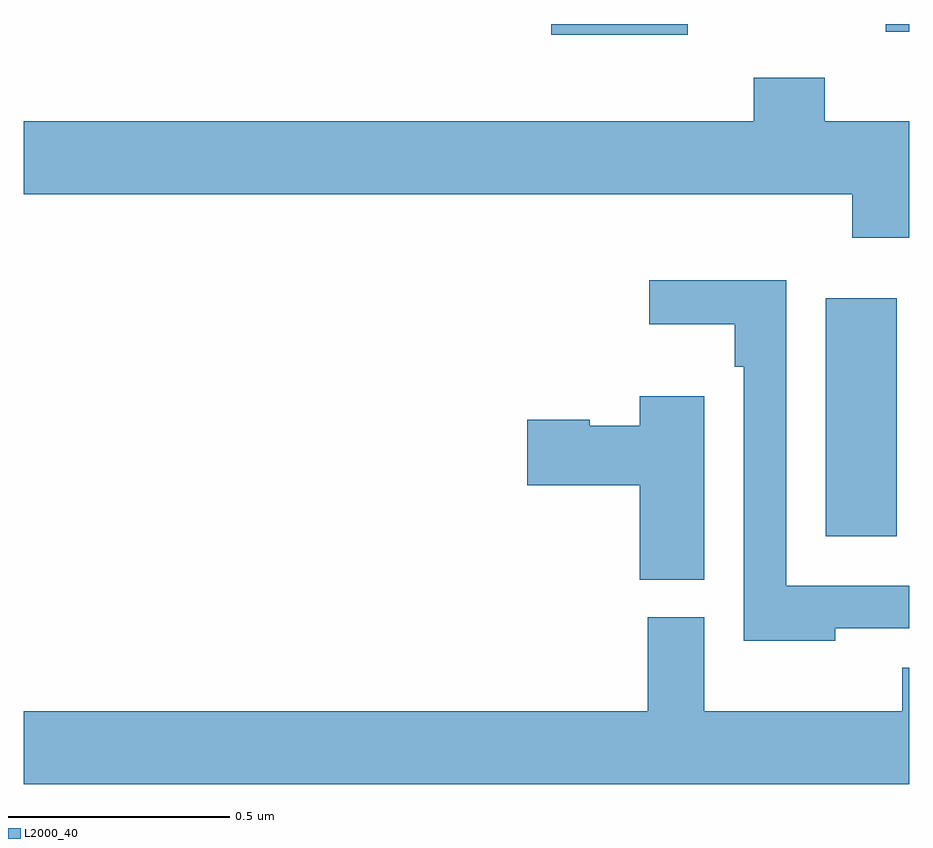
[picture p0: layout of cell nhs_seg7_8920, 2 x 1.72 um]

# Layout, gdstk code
import gdstk
lib = gdstk.Library(unit=1e-6, precision=1e-09)
def R(c, l, rs):  # rectangles x0, y0, x1, y1
    for r in rs: c.add(gdstk.rectangle(r[:2], r[2:], *l))
def P(c, l, *ps):  # polygons
    for p in ps: c.add(gdstk.Polygon(p, *l))
L2000_40 = (2000, 40)

nhs_seg7_8920 = lib.new_cell('nhs_seg7_8920')
R(nhs_seg7_8920, L2000_40, [(232.811,999.843,232.972,1000.381), (232.191,1000.976,232.5,1001), (232.947,1000.982,233,1001)])
P(nhs_seg7_8920, L2000_40, [(233,1000.78),(232.809,1000.78),(232.809,1000.879),(232.649,1000.879),(232.649,1000.78),(231,1000.78),(231,1000.616),(232.871,1000.616),(232.871,1000.517),(233,1000.517)],
  [(232.833,999.636),(233,999.636),(233,999.732),(232.722,999.732),(232.722,1000.421),(232.413,1000.421),(232.413,1000.322),(232.606,1000.322),(232.606,1000.226),(232.626,1000.226),(232.626,999.608),(232.833,999.608)],
  [(232.537,1000.159),(232.391,1000.159),(232.391,1000.093),(232.278,1000.093),(232.278,1000.106),(232.137,1000.106),(232.137,999.959),(232.391,999.959),(232.391,999.745),(232.537,999.745)],
  [(233,999.547),(232.984,999.547),(232.984,999.448),(232.537,999.448),(232.537,999.66),(232.409,999.66),(232.409,999.448),(231,999.448),(231,999.284),(233,999.284)])

lib.write_gds('nhs_seg7_8920.gds')
